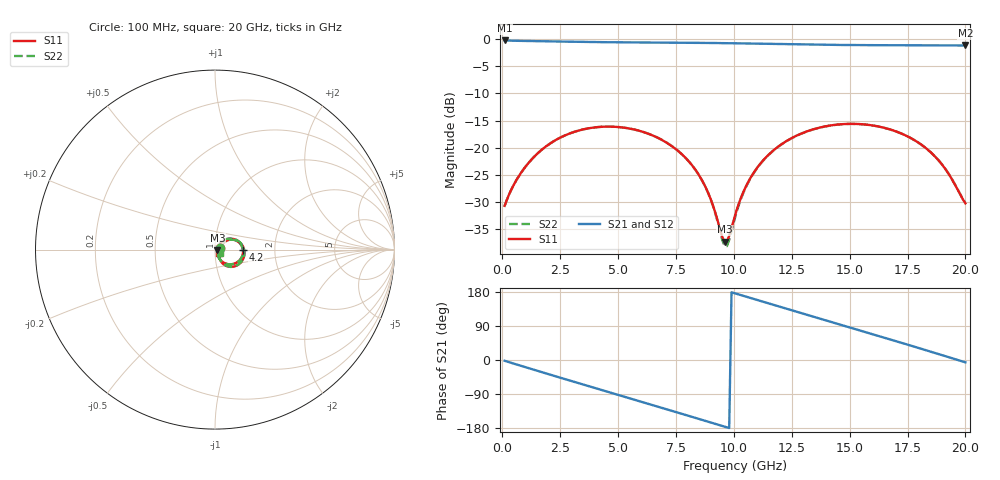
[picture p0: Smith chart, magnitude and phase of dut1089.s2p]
! Touchstone file exported from HFSS 2026.1.0
!  File:  C:/ffzhzh/LocalFiles/Ansys_Project_Files/temp_train_TSV_RDL_1089_1783301654_5512.aedt
!  Generated:  09:42:09 AM Jul  6, 2026
!  Design:  TSV_RDL
!  Project:  temp_train_TSV_RDL_1089_1783301654_5512
! Variables:
!  h_bsmrdl = 3.45um
!  h_ox = 20um
!  h_rdl = 5um
!  h_sub = 74.23um
!  h_tmrdl = 4.98um
!  h_tsv = 74.23um
!  h_via = 3um
!  l_bsmrdl = 728.16um
!  l_sub = 5577.9um
!  l_tmrdl = 723.47um
!  m_sub = 200um
!  pitch = 27.46um
!  r_tsv = 12.47um
!  s_tmrdl = 10um
!  w_bsmrdl = 13.16um
!  w_sub = 500um
!  w_tmrdl = 20.02um
!  x_tsv_center1 = 733.48um
!  x_tsv_center2 = 1474.8um
!  x_tsv_center3 = 2218.29um
!  x_tsv_center4 = 2959.61um
!  x_tsv_center5 = 3703.1um
!  x_tsv_center6 = 4444.42um
# GHz S MA R 50.000000
! Terminal data exported
! Port[1] = TM_RDL1_1_T1
! Port[2] = TM_RDL5_1_T1
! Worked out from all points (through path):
!   200 points, 100 MHz to 20 GHz, reference 50 ohm
!   highest |S21| = -0.25 dB at 100 MHz (marker M1); lowest = -1.2 dB at 20 GHz (marker M2)
!   group delay of S21, straight-line fit = 50.6 ps
!   lowest |S11| = -37.3 dB at 9.6 GHz (marker M3), VSWR 1.03, Z = 51.3 - j0.378 ohm
!   |S11| at or under -10 dB: start of sweep to end of sweep
!   |S22| runs from -38.1 to -15.6 dB; largest |S21 - S12| = 3.4e-14
!   S11 on the Smith chart (normalised r, x): 100 MHz: 1.06, +0.02; 4.2 GHz: 1.37, -0.01; 20 GHz: 1.05, -0.04
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0.1  0.02929 14.0  0.9718 -2.0  0.9718 -2.0  0.02929 14.0
! Gamma 0 0 0 0
! Port Impedance 50 0 50 0
0.7  0.05432 36.7  0.9641 -13.4  0.9641 -13.4  0.05432 36.7
1.5  0.08795 36.3  0.9578 -28.2  0.9578 -28.2  0.08797 36.3
3.5  0.1479 10.1  0.9424 -64.8  0.9424 -64.8  0.148 10.0
4.2  0.1557 -1.0  0.938 -77.5  0.938 -77.5  0.1558 -1.1
5.5  0.1504 -21.9  0.9325 -101.0  0.9325 -101.0  0.1505 -22.1
6.8  0.1212 -42.4  0.929 -124.6  0.929 -124.6  0.1213 -42.8
7.8  0.08553 -56.7  0.9264 -142.9  0.9264 -142.9  0.0856 -57.4
8.5  0.05588 -63.8  0.9238 -155.7  0.9238 -155.7  0.05584 -64.9
9  0.03379 -62.8  0.9216 -164.9  0.9216 -164.9  0.03355 -64.8
9.6  0.01371 -15.6  0.9182 -175.9  0.9182 -175.9  0.01248 -17.6
9.8  0.01552 19.1  0.917 -179.5  0.917 -179.5  0.01425 20.8
10.1  0.02588 43.1  0.915 175.0  0.915 175.0  0.02497 45.5
10.6  0.04768 49.6  0.9114 165.8  0.9114 165.8  0.04705 51.3
11.3  0.07819 44.3  0.9059 153.0  0.9059 153.0  0.0777 45.4
12.2  0.113 32.2  0.8987 136.7  0.8987 136.7  0.1126 33.0
13.4  0.1474 13.9  0.89 115.0  0.89 115.0  0.1471 14.6
15  0.1662 -11.2  0.8821 86.2  0.8821 86.2  0.166 -10.7
16.7  0.1488 -37.5  0.8789 55.3  0.8789 55.3  0.1487 -36.9
18.6  0.08701 -61.4  0.8775 20.2  0.8775 20.2  0.08709 -60.9
19.2  0.06101 -63.0  0.8764 8.9  0.8764 8.9  0.06116 -62.5
20  0.03091 -36.7  0.8737 -6.2  0.8737 -6.2  0.03117 -36.3
